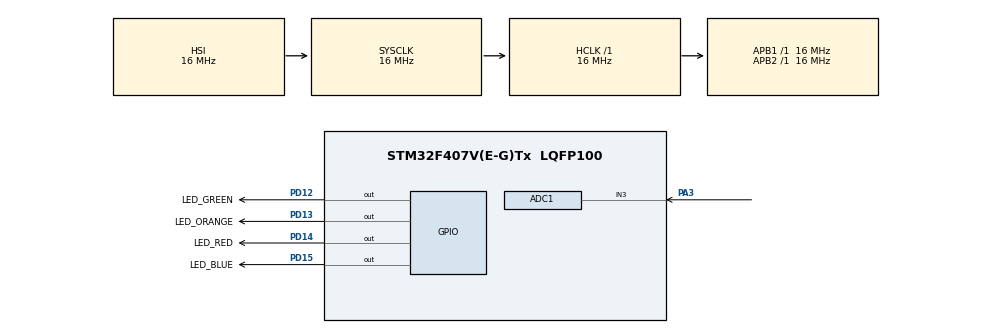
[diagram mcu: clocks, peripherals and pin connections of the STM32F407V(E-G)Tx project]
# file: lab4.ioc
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ADC1.Channel-0\#ChannelRegularConversion=ADC_CHANNEL_3
ADC1.NbrOfConversionFlag=1
ADC1.Rank-0\#ChannelRegularConversion=1
ADC1.SamplingTime-0\#ChannelRegularConversion=ADC_SAMPLETIME_3CYCLES
ADC1.master=1
Mcu.Family=STM32F4
Mcu.Name=STM32F407V(E-G)Tx
Mcu.Package=LQFP100
NVIC.ADC_IRQn=true\:0\:0\:false\:false\:true\:true\:true\:true
NVIC.PriorityGroup=NVIC_PRIORITYGROUP_4
PA3.Signal=ADCx_IN3
PD12.GPIO_Label=LED_GREEN
PD12.Signal=GPIO_Output
PD13.GPIO_Label=LED_ORANGE
PD13.Signal=GPIO_Output
PD14.GPIO_Label=LED_RED
PD14.Signal=GPIO_Output
PD15.GPIO_Label=LED_BLUE
PD15.Signal=GPIO_Output
ProjectManager.HeapSize=0x200
ProjectManager.StackSize=0x400
ProjectManager.TargetToolchain=STM32CubeIDE
RCC.AHBFreq_Value=16000000
RCC.APB1Freq_Value=16000000
RCC.APB2Freq_Value=16000000
RCC.CortexFreq_Value=16000000
RCC.HSE_VALUE=25000000
RCC.HSI_VALUE=16000000
RCC.LSE_VALUE=32768
RCC.SYSCLKFreq_VALUE=16000000
RCC.VCOOutputFreq_Value=192000000
SH.ADCx_IN3.0=ADC1_IN3,IN3
board=custom

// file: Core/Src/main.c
/* USER CODE BEGIN Header */
/**
  ******************************************************************************
  * @file           : main.c
  * @brief          : Main program body
  ******************************************************************************
  * @attention
  *
  * Copyright (c) 2023 STMicroelectronics.
  * All rights reserved.
  *
  * This software is licensed under terms that can be found in the LICENSE file
  * in the root directory of this software component.
  * If no LICENSE file comes with this software, it is provided AS-IS.
  *
  ******************************************************************************
  */
/* USER CODE END Header */
#include "main.h"

ADC_HandleTypeDef hadc1;

void SystemClock_Config(void);
static void MX_GPIO_Init(void);
static void MX_ADC1_Init(void);

/* USER CODE BEGIN 0 */

void HAL_ADC_ConvCpltCallback(ADC_HandleTypeDef* hadc)
{
  uint32_t adcValue;

  if(hadc->Instance == ADC1) {
    adcValue = HAL_ADC_GetValue(&hadc1);
    adcValue = 2470;

    if (adcValue < 820) {
      WRITE_LED(GREEN, GPIO_PIN_RESET);
      WRITE_LED(ORANGE, GPIO_PIN_RESET);
      WRITE_LED(RED, GPIO_PIN_RESET);
      WRITE_LED(BLUE, GPIO_PIN_RESET);
    } else if (adcValue < 1640) {
      WRITE_LED(GREEN, GPIO_PIN_SET);
      WRITE_LED(ORANGE, GPIO_PIN_RESET);
      WRITE_LED(RED, GPIO_PIN_RESET);
      WRITE_LED(BLUE, GPIO_PIN_RESET);
    } else if (adcValue < 2460) {
      WRITE_LED(GREEN, GPIO_PIN_SET);
      WRITE_LED(ORANGE, GPIO_PIN_SET);
      WRITE_LED(RED, GPIO_PIN_RESET);
      WRITE_LED(BLUE, GPIO_PIN_RESET);
    } else if (adcValue < 3276) {
      WRITE_LED(GREEN, GPIO_PIN_SET);
      WRITE_LED(ORANGE, GPIO_PIN_SET);
      WRITE_LED(RED, GPIO_PIN_SET);
      WRITE_LED(BLUE, GPIO_PIN_RESET);
    } else {
      WRITE_LED(GREEN, GPIO_PIN_SET);
      WRITE_LED(ORANGE, GPIO_PIN_SET);
      WRITE_LED(RED, GPIO_PIN_RESET);
      WRITE_LED(BLUE, GPIO_PIN_SET);
    }

    HAL_ADC_Start_IT(&hadc1);
  }
}

/* USER CODE END 0 */

int main(void)
{

  /* MCU Configuration--------------------------------------------------------*/

  /* Reset of all peripherals, Initializes the Flash interface and the Systick. */
  HAL_Init();

  /* Configure the system clock */
  SystemClock_Config();

  /* Initialize all configured peripherals */
  MX_GPIO_Init();
  MX_ADC1_Init();
  /* USER CODE BEGIN 2 */

  HAL_ADC_Start_IT(&hadc1);

  /* USER CODE END 2 */

  /* Infinite loop */
  while (1)
  {

  }
}

void SystemClock_Config(void)
{
  RCC_OscInitTypeDef RCC_OscInitStruct = {0};
  RCC_ClkInitTypeDef RCC_ClkInitStruct = {0};

  /** Configure the main internal regulator output voltage
  */
  __HAL_RCC_PWR_CLK_ENABLE();
  __HAL_PWR_VOLTAGESCALING_CONFIG(PWR_REGULATOR_VOLTAGE_SCALE1);

  /** Initializes the RCC Oscillators according to the specified parameters
  * in the RCC_OscInitTypeDef structure.
  */
  RCC_OscInitStruct.OscillatorType = RCC_OSCILLATORTYPE_HSI;
  RCC_OscInitStruct.HSIState = RCC_HSI_ON;
  RCC_OscInitStruct.HSICalibrationValue = RCC_HSICALIBRATION_DEFAULT;
  RCC_OscInitStruct.PLL.PLLState = RCC_PLL_NONE;
  if (HAL_RCC_OscConfig(&RCC_OscInitStruct) != HAL_OK)
  {
    Error_Handler();
  }

  /** Initializes the CPU, AHB and APB buses clocks
  */
  RCC_ClkInitStruct.ClockType = RCC_CLOCKTYPE_HCLK|RCC_CLOCKTYPE_SYSCLK
                              |RCC_CLOCKTYPE_PCLK1|RCC_CLOCKTYPE_PCLK2;
  RCC_ClkInitStruct.SYSCLKSource = RCC_SYSCLKSOURCE_HSI;
  RCC_ClkInitStruct.AHBCLKDivider = RCC_SYSCLK_DIV1;
  RCC_ClkInitStruct.APB1CLKDivider = RCC_HCLK_DIV1;
  RCC_ClkInitStruct.APB2CLKDivider = RCC_HCLK_DIV1;

  if (HAL_RCC_ClockConfig(&RCC_ClkInitStruct, FLASH_LATENCY_0) != HAL_OK)
  {
    Error_Handler();
  }
}

static void MX_ADC1_Init(void)
{

  ADC_ChannelConfTypeDef sConfig = {0};

  /** Configure the global features of the ADC (Clock, Resolution, Data Alignment and number of conversion)
  */
  hadc1.Instance = ADC1;
  hadc1.Init.ClockPrescaler = ADC_CLOCK_SYNC_PCLK_DIV2;
  hadc1.Init.Resolution = ADC_RESOLUTION_12B;
  hadc1.Init.ScanConvMode = DISABLE;
  hadc1.Init.ContinuousConvMode = DISABLE;
  hadc1.Init.DiscontinuousConvMode = DISABLE;
  hadc1.Init.ExternalTrigConvEdge = ADC_EXTERNALTRIGCONVEDGE_NONE;
  hadc1.Init.ExternalTrigConv = ADC_SOFTWARE_START;
  hadc1.Init.DataAlign = ADC_DATAALIGN_RIGHT;
  hadc1.Init.NbrOfConversion = 1;
  hadc1.Init.DMAContinuousRequests = DISABLE;
  hadc1.Init.EOCSelection = ADC_EOC_SINGLE_CONV;
  if (HAL_ADC_Init(&hadc1) != HAL_OK)
  {
    Error_Handler();
  }

  /** Configure for the selected ADC regular channel its corresponding rank in the sequencer and its sample time.
  */
  sConfig.Channel = ADC_CHANNEL_3;
  sConfig.Rank = 1;
  sConfig.SamplingTime = ADC_SAMPLETIME_3CYCLES;
  if (HAL_ADC_ConfigChannel(&hadc1, &sConfig) != HAL_OK)
  {
    Error_Handler();
  }

}

static void MX_GPIO_Init(void)
{
  GPIO_InitTypeDef GPIO_InitStruct = {0};

  /* GPIO Ports Clock Enable */
  __HAL_RCC_GPIOA_CLK_ENABLE();
  __HAL_RCC_GPIOD_CLK_ENABLE();

  /*Configure GPIO pin Output Level */
  HAL_GPIO_WritePin(GPIOD, LED_GREEN_Pin|LED_ORANGE_Pin|LED_RED_Pin|LED_BLUE_Pin, GPIO_PIN_RESET);

  /*Configure GPIO pins : LED_GREEN_Pin LED_ORANGE_Pin LED_RED_Pin LED_BLUE_Pin */
  GPIO_InitStruct.Pin = LED_GREEN_Pin|LED_ORANGE_Pin|LED_RED_Pin|LED_BLUE_Pin;
  GPIO_InitStruct.Mode = GPIO_MODE_OUTPUT_PP;
  GPIO_InitStruct.Pull = GPIO_NOPULL;
  GPIO_InitStruct.Speed = GPIO_SPEED_FREQ_LOW;
  HAL_GPIO_Init(GPIOD, &GPIO_InitStruct);

}

void Error_Handler(void)
{
  __disable_irq();
  while (1)
  {
  }
}
